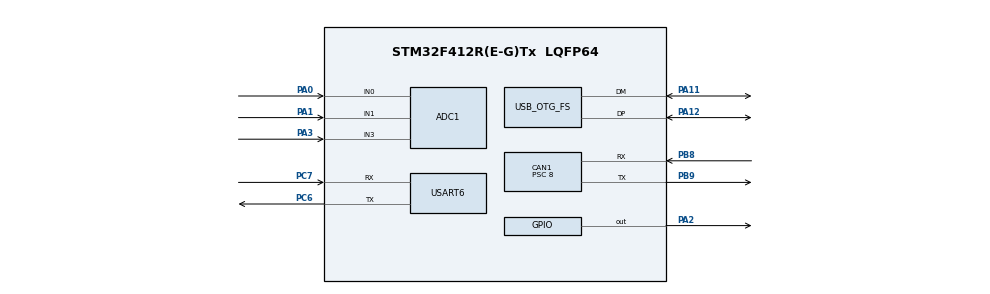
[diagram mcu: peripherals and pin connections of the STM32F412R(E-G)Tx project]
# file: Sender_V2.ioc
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ADC1.Channel-0\#ChannelRegularConversion=ADC_CHANNEL_0
ADC1.Channel-1\#ChannelRegularConversion=ADC_CHANNEL_0
ADC1.Channel-2\#ChannelRegularConversion=ADC_CHANNEL_0
ADC1.InjNumberOfConversion=0
ADC1.NbrOfConversion=3
ADC1.NbrOfConversionFlag=1
ADC1.Rank-0\#ChannelRegularConversion=1
ADC1.Rank-1\#ChannelRegularConversion=2
ADC1.Rank-2\#ChannelRegularConversion=3
ADC1.SamplingTime-0\#ChannelRegularConversion=ADC_SAMPLETIME_3CYCLES
ADC1.SamplingTime-1\#ChannelRegularConversion=ADC_SAMPLETIME_3CYCLES
ADC1.SamplingTime-2\#ChannelRegularConversion=ADC_SAMPLETIME_3CYCLES
ADC1.master=1
CAN1.BS1=CAN_BS1_2TQ
CAN1.CalculateBaudRate=500000
CAN1.CalculateTimeBit=2000
CAN1.CalculateTimeQuantum=500.0
CAN1.Prescaler=8
Mcu.Family=STM32F4
Mcu.Name=STM32F412R(E-G)Tx
Mcu.Package=LQFP64
NVIC.CAN1_RX0_IRQn=true\:0\:0\:false\:false\:true\:true\:true\:true
NVIC.PriorityGroup=NVIC_PRIORITYGROUP_4
NVIC.TIM6_IRQn=true\:0\:0\:false\:false\:true\:true\:true\:true
PA0.Signal=ADCx_IN0
PA1.Signal=ADCx_IN1
PA11.Mode=Device_Only
PA11.Signal=USB_OTG_FS_DM
PA12.Mode=Device_Only
PA12.Signal=USB_OTG_FS_DP
PA13.Mode=Trace_Asynchronous_SW
PA13.Signal=SYS_JTMS-SWDIO
PA14.Mode=Trace_Asynchronous_SW
PA14.Signal=SYS_JTCK-SWCLK
PA2.Signal=GPIO_Output
PA3.Signal=ADCx_IN3
PB3.Mode=Trace_Asynchronous_SW
PB3.Signal=SYS_JTDO-SWO
PB8.Mode=CAN_Activate
PB8.Signal=CAN1_RX
PB9.Mode=CAN_Activate
PB9.Signal=CAN1_TX
PC6.Mode=Asynchronous
PC6.Signal=USART6_TX
PC7.Mode=Asynchronous
PC7.Signal=USART6_RX
PH0\ -\ OSC_IN.Mode=HSE-External-Oscillator
PH0\ -\ OSC_IN.Signal=RCC_OSC_IN
PH1\ -\ OSC_OUT.Mode=HSE-External-Oscillator
PH1\ -\ OSC_OUT.Signal=RCC_OSC_OUT
ProjectManager.HeapSize=0x200
ProjectManager.StackSize=0x400
ProjectManager.TargetToolchain=STM32CubeIDE
RCC.CortexFreq_Value=16000000
RCC.PLLM=15
RCC.PLLN=144
RCC.PLLQ=5
RCC.USBFreq_Value=48000000
RCC.VCOOutputFreq_Value=240000000
SH.ADCx_IN0.0=ADC1_IN0,IN0
SH.ADCx_IN1.0=ADC1_IN1,IN1
SH.ADCx_IN3.0=ADC1_IN3,IN3
TIM6.AutoReloadPreload=TIM_AUTORELOAD_PRELOAD_DISABLE
TIM6.Prescaler=122
USART6.VirtualMode=VM_ASYNC
USB_OTG_FS.VirtualMode=Device_Only
VP_TIM6_VS_ClockSourceINT.Mode=Enable_Timer
board=custom

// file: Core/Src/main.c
/* USER CODE BEGIN Header */
/**
  ******************************************************************************
  * @file           : main.c
  * @brief          : Main program body
  ******************************************************************************
  * @attention
  *
  * Copyright (c) 2022 STMicroelectronics.
  * All rights reserved.
  *
  * This software is licensed under terms that can be found in the LICENSE file
  * in the root directory of this software component.
  * If no LICENSE file comes with this software, it is provided AS-IS.
  *
  ******************************************************************************
  */
/* USER CODE END Header */
#include "main.h"

/* USER CODE BEGIN PTD */
union FloatData
{
	float Number;
	uint8_t Data[4];
}FData;
/* USER CODE END PTD */

ADC_HandleTypeDef hadc1;

CAN_HandleTypeDef hcan1;

TIM_HandleTypeDef htim6;

UART_HandleTypeDef huart6;

PCD_HandleTypeDef hpcd_USB_OTG_FS;

/* USER CODE BEGIN PV */
// Transition header example
CAN_TxHeaderTypeDef TxHeader;
uint32_t MailBox;
uint8_t TxData[8];
// Receive header example
CAN_RxHeaderTypeDef RxHeader;
uint8_t RxData[8];
// Received Float
float RxNumber;
/* USER CODE END PV */

void SystemClock_Config(void);
static void MX_GPIO_Init(void);
static void MX_ADC1_Init(void);
static void MX_CAN1_Init(void);
static void MX_TIM6_Init(void);
static void MX_USART6_UART_Init(void);
static void MX_USB_OTG_FS_PCD_Init(void);

int main(void)
{

  /* MCU Configuration--------------------------------------------------------*/

  /* Reset of all peripherals, Initializes the Flash interface and the Systick. */
  HAL_Init();

  /* Configure the system clock */
  SystemClock_Config();

  /* Initialize all configured peripherals */
  MX_GPIO_Init();
  MX_ADC1_Init();
  MX_CAN1_Init();
  MX_TIM6_Init();
  MX_USART6_UART_Init();
  MX_USB_OTG_FS_PCD_Init();
  /* USER CODE BEGIN 2 */
  HAL_CAN_Start(&hcan1);
  HAL_CAN_ActivateNotification(&hcan1,CAN_IT_RX_FIFO0_MSG_PENDING);

  TxHeader.StdId = 0x406;
  TxHeader.DLC = 8;
  TxHeader.IDE = CAN_ID_STD;
  TxHeader.RTR = CAN_RTR_DATA;

  HAL_TIM_Base_Start_IT(&htim6);
  /* USER CODE END 2 */

  /* Infinite loop */
  while (1)
  {

  }
}

void SystemClock_Config(void)
{
  RCC_OscInitTypeDef RCC_OscInitStruct = {0};
  RCC_ClkInitTypeDef RCC_ClkInitStruct = {0};

  /** Configure the main internal regulator output voltage
  */
  __HAL_RCC_PWR_CLK_ENABLE();
  __HAL_PWR_VOLTAGESCALING_CONFIG(PWR_REGULATOR_VOLTAGE_SCALE1);

  /** Initializes the RCC Oscillators according to the specified parameters
  * in the RCC_OscInitTypeDef structure.
  */
  RCC_OscInitStruct.OscillatorType = RCC_OSCILLATORTYPE_HSI|RCC_OSCILLATORTYPE_HSE;
  RCC_OscInitStruct.HSEState = RCC_HSE_ON;
  RCC_OscInitStruct.HSIState = RCC_HSI_ON;
  RCC_OscInitStruct.HSICalibrationValue = RCC_HSICALIBRATION_DEFAULT;
  RCC_OscInitStruct.PLL.PLLState = RCC_PLL_ON;
  RCC_OscInitStruct.PLL.PLLSource = RCC_PLLSOURCE_HSE;
  RCC_OscInitStruct.PLL.PLLM = 15;
  RCC_OscInitStruct.PLL.PLLN = 144;
  RCC_OscInitStruct.PLL.PLLP = RCC_PLLP_DIV2;
  RCC_OscInitStruct.PLL.PLLQ = 5;
  RCC_OscInitStruct.PLL.PLLR = 2;
  if (HAL_RCC_OscConfig(&RCC_OscInitStruct) != HAL_OK)
  {
    Error_Handler();
  }

  /** Initializes the CPU, AHB and APB buses clocks
  */
  RCC_ClkInitStruct.ClockType = RCC_CLOCKTYPE_HCLK|RCC_CLOCKTYPE_SYSCLK
                              |RCC_CLOCKTYPE_PCLK1|RCC_CLOCKTYPE_PCLK2;
  RCC_ClkInitStruct.SYSCLKSource = RCC_SYSCLKSOURCE_HSI;
  RCC_ClkInitStruct.AHBCLKDivider = RCC_SYSCLK_DIV1;
  RCC_ClkInitStruct.APB1CLKDivider = RCC_HCLK_DIV1;
  RCC_ClkInitStruct.APB2CLKDivider = RCC_HCLK_DIV1;

  if (HAL_RCC_ClockConfig(&RCC_ClkInitStruct, FLASH_LATENCY_0) != HAL_OK)
  {
    Error_Handler();
  }
}

static void MX_ADC1_Init(void)
{

  ADC_ChannelConfTypeDef sConfig = {0};

  /** Configure the global features of the ADC (Clock, Resolution, Data Alignment and number of conversion)
  */
  hadc1.Instance = ADC1;
  hadc1.Init.ClockPrescaler = ADC_CLOCK_SYNC_PCLK_DIV2;
  hadc1.Init.Resolution = ADC_RESOLUTION_12B;
  hadc1.Init.ScanConvMode = ENABLE;
  hadc1.Init.ContinuousConvMode = DISABLE;
  hadc1.Init.DiscontinuousConvMode = DISABLE;
  hadc1.Init.ExternalTrigConvEdge = ADC_EXTERNALTRIGCONVEDGE_NONE;
  hadc1.Init.ExternalTrigConv = ADC_SOFTWARE_START;
  hadc1.Init.DataAlign = ADC_DATAALIGN_RIGHT;
  hadc1.Init.NbrOfConversion = 3;
  hadc1.Init.DMAContinuousRequests = DISABLE;
  hadc1.Init.EOCSelection = ADC_EOC_SINGLE_CONV;
  if (HAL_ADC_Init(&hadc1) != HAL_OK)
  {
    Error_Handler();
  }

  /** Configure for the selected ADC regular channel its corresponding rank in the sequencer and its sample time.
  */
  sConfig.Channel = ADC_CHANNEL_0;
  sConfig.Rank = 1;
  sConfig.SamplingTime = ADC_SAMPLETIME_3CYCLES;
  if (HAL_ADC_ConfigChannel(&hadc1, &sConfig) != HAL_OK)
  {
    Error_Handler();
  }

  /** Configure for the selected ADC regular channel its corresponding rank in the sequencer and its sample time.
  */
  sConfig.Rank = 2;
  if (HAL_ADC_ConfigChannel(&hadc1, &sConfig) != HAL_OK)
  {
    Error_Handler();
  }

  /** Configure for the selected ADC regular channel its corresponding rank in the sequencer and its sample time.
  */
  sConfig.Rank = 3;
  if (HAL_ADC_ConfigChannel(&hadc1, &sConfig) != HAL_OK)
  {
    Error_Handler();
  }

}

static void MX_CAN1_Init(void)
{

  hcan1.Instance = CAN1;
  hcan1.Init.Prescaler = 8;
  hcan1.Init.Mode = CAN_MODE_NORMAL;
  hcan1.Init.SyncJumpWidth = CAN_SJW_1TQ;
  hcan1.Init.TimeSeg1 = CAN_BS1_2TQ;
  hcan1.Init.TimeSeg2 = CAN_BS2_1TQ;
  hcan1.Init.TimeTriggeredMode = DISABLE;
  hcan1.Init.AutoBusOff = DISABLE;
  hcan1.Init.AutoWakeUp = DISABLE;
  hcan1.Init.AutoRetransmission = DISABLE;
  hcan1.Init.ReceiveFifoLocked = DISABLE;
  hcan1.Init.TransmitFifoPriority = DISABLE;
  if (HAL_CAN_Init(&hcan1) != HAL_OK)
  {
    Error_Handler();
  }
  /* USER CODE BEGIN CAN1_Init 2 */
  CAN_FilterTypeDef CAN_Filt;

  CAN_Filt.FilterActivation = CAN_FILTER_ENABLE;
  CAN_Filt.FilterBank = 18;  // which filter bank to use from the assigned ones
  CAN_Filt.FilterFIFOAssignment = CAN_FILTER_FIFO0;
  CAN_Filt.FilterIdHigh = 0xFFF<<5;
  CAN_Filt.FilterIdLow = 0;
  CAN_Filt.FilterMaskIdHigh = 0xFFF<<5;
  CAN_Filt.FilterMaskIdLow = 0x0000;
  CAN_Filt.FilterMode = CAN_FILTERMODE_IDMASK;
  CAN_Filt.FilterScale = CAN_FILTERSCALE_32BIT;
  CAN_Filt.SlaveStartFilterBank = 20;  // how many filters to assign to the CAN1 (master can)

  HAL_CAN_ConfigFilter(&hcan1, &CAN_Filt);
  /* USER CODE END CAN1_Init 2 */

}

static void MX_TIM6_Init(void)
{

  TIM_MasterConfigTypeDef sMasterConfig = {0};

  htim6.Instance = TIM6;
  htim6.Init.Prescaler = 122;
  htim6.Init.CounterMode = TIM_COUNTERMODE_UP;
  htim6.Init.Period = 65535;
  htim6.Init.AutoReloadPreload = TIM_AUTORELOAD_PRELOAD_DISABLE;
  if (HAL_TIM_Base_Init(&htim6) != HAL_OK)
  {
    Error_Handler();
  }
  sMasterConfig.MasterOutputTrigger = TIM_TRGO_RESET;
  sMasterConfig.MasterSlaveMode = TIM_MASTERSLAVEMODE_DISABLE;
  if (HAL_TIMEx_MasterConfigSynchronization(&htim6, &sMasterConfig) != HAL_OK)
  {
    Error_Handler();
  }

}

static void MX_USART6_UART_Init(void)
{

  huart6.Instance = USART6;
  huart6.Init.BaudRate = 115200;
  huart6.Init.WordLength = UART_WORDLENGTH_8B;
  huart6.Init.StopBits = UART_STOPBITS_1;
  huart6.Init.Parity = UART_PARITY_NONE;
  huart6.Init.Mode = UART_MODE_TX_RX;
  huart6.Init.HwFlowCtl = UART_HWCONTROL_NONE;
  huart6.Init.OverSampling = UART_OVERSAMPLING_16;
  if (HAL_UART_Init(&huart6) != HAL_OK)
  {
    Error_Handler();
  }

}

static void MX_USB_OTG_FS_PCD_Init(void)
{

  hpcd_USB_OTG_FS.Instance = USB_OTG_FS;
  hpcd_USB_OTG_FS.Init.dev_endpoints = 6;
  hpcd_USB_OTG_FS.Init.speed = PCD_SPEED_FULL;
  hpcd_USB_OTG_FS.Init.dma_enable = DISABLE;
  hpcd_USB_OTG_FS.Init.phy_itface = PCD_PHY_EMBEDDED;
  hpcd_USB_OTG_FS.Init.Sof_enable = DISABLE;
  hpcd_USB_OTG_FS.Init.low_power_enable = DISABLE;
  hpcd_USB_OTG_FS.Init.lpm_enable = DISABLE;
  hpcd_USB_OTG_FS.Init.battery_charging_enable = DISABLE;
  hpcd_USB_OTG_FS.Init.vbus_sensing_enable = DISABLE;
  hpcd_USB_OTG_FS.Init.use_dedicated_ep1 = DISABLE;
  if (HAL_PCD_Init(&hpcd_USB_OTG_FS) != HAL_OK)
  {
    Error_Handler();
  }

}

static void MX_GPIO_Init(void)
{
  GPIO_InitTypeDef GPIO_InitStruct = {0};

  /* GPIO Ports Clock Enable */
  __HAL_RCC_GPIOH_CLK_ENABLE();
  __HAL_RCC_GPIOA_CLK_ENABLE();
  __HAL_RCC_GPIOC_CLK_ENABLE();
  __HAL_RCC_GPIOB_CLK_ENABLE();

  /*Configure GPIO pin Output Level */
  HAL_GPIO_WritePin(GPIOA, GPIO_PIN_2, GPIO_PIN_RESET);

  /*Configure GPIO pin : PA2 */
  GPIO_InitStruct.Pin = GPIO_PIN_2;
  GPIO_InitStruct.Mode = GPIO_MODE_OUTPUT_PP;
  GPIO_InitStruct.Pull = GPIO_NOPULL;
  GPIO_InitStruct.Speed = GPIO_SPEED_FREQ_LOW;
  HAL_GPIO_Init(GPIOA, &GPIO_InitStruct);

}

/* USER CODE BEGIN 4 */
uint32_t ADC_SELECT(uint32_t Channel)
{
	ADC_ChannelConfTypeDef sConfig = {0};
	sConfig.SamplingTime = ADC_SAMPLETIME_3CYCLES;
	switch (Channel)
	{
	case 0:
		sConfig.Channel = ADC_CHANNEL_0;
		sConfig.Rank = 1;
		if (HAL_ADC_ConfigChannel(&hadc1, &sConfig) != HAL_OK)
		{
			Error_Handler();
		}
		break;
	case 1:
		sConfig.Channel = ADC_CHANNEL_1;
		sConfig.Rank = 1;
		if (HAL_ADC_ConfigChannel(&hadc1, &sConfig) != HAL_OK)
		{
			Error_Handler();
		}
		break;
	case 2:
		sConfig.Channel = ADC_CHANNEL_2;
		sConfig.Rank = 1;
		if (HAL_ADC_ConfigChannel(&hadc1, &sConfig) != HAL_OK)
		{
			Error_Handler();
		}
		break;
	case 3:
		sConfig.Channel = ADC_CHANNEL_3;
		sConfig.Rank = 1;
		if (HAL_ADC_ConfigChannel(&hadc1, &sConfig) != HAL_OK)
		{
			Error_Handler();
		}
		break;
	case 4:
		sConfig.Channel = ADC_CHANNEL_4;
		sConfig.Rank = 1;
		if (HAL_ADC_ConfigChannel(&hadc1, &sConfig) != HAL_OK)
		{
			Error_Handler();
		}
		break;
	case 5:
		sConfig.Channel = ADC_CHANNEL_5;
		sConfig.Rank = 1;
		if (HAL_ADC_ConfigChannel(&hadc1, &sConfig) != HAL_OK)
		{
			Error_Handler();
		}
		break;
	}

	HAL_ADC_Start(&hadc1);
	HAL_ADC_PollForConversion(&hadc1,HAL_MAX_DELAY);
	uint32_t Meas;
	Meas = HAL_ADC_GetValue(&hadc1);
	HAL_ADC_Stop(&hadc1);
	return Meas;
}

void HAL_TIM_PeriodElapsedCallback(TIM_HandleTypeDef* htim)
{
    HAL_GPIO_TogglePin(GPIOA, GPIO_PIN_2);

    uint32_t Meas1 = ADC_SELECT(0);
    uint32_t Meas2 = ADC_SELECT(1);

    FData.Number = (float)(Meas1*3.3)*0.000244140625;
    TxData[0] = FData.Data[0];
    TxData[1] = FData.Data[1];
    TxData[2] = FData.Data[2];
    TxData[3] = FData.Data[3];

    FData.Number = (float)(Meas2*3.3)*0.000244140625;
    TxData[4] = FData.Data[0];
    TxData[5] = FData.Data[1];
    TxData[6] = FData.Data[2];
    TxData[7] = FData.Data[3];

    HAL_CAN_AddTxMessage(&hcan1,&TxHeader,TxData,&MailBox);
}
/* USER CODE END 4 */

void Error_Handler(void)
{
  __disable_irq();
  while (1)
  {
  }
}
